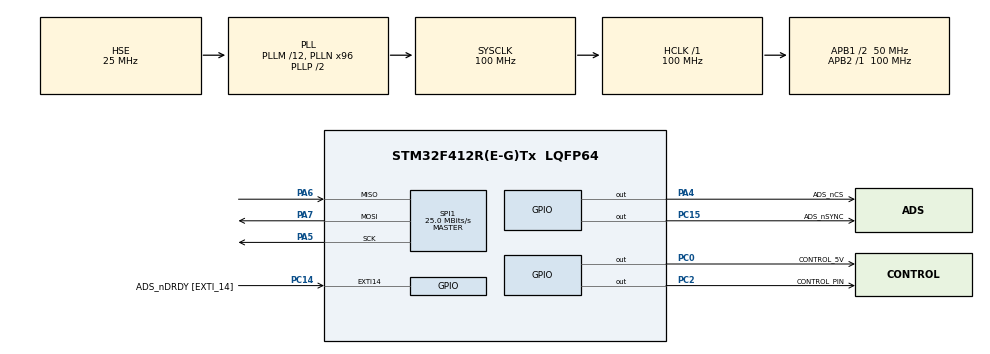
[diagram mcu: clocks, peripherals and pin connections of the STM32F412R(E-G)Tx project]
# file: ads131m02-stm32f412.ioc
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Mcu.Family=STM32F4
Mcu.Name=STM32F412R(E-G)Tx
Mcu.Package=LQFP64
NVIC.EXTI15_10_IRQn=true\:2\:0\:true\:false\:true\:true\:true\:true
NVIC.PriorityGroup=NVIC_PRIORITYGROUP_4
NVIC.TIM4_IRQn=true\:3\:0\:true\:false\:true\:true\:true\:true
PA4.GPIO_Label=ADS_nCS
PA4.GPIO_Speed=GPIO_SPEED_FREQ_VERY_HIGH
PA4.PinState=GPIO_PIN_SET
PA4.Signal=GPIO_Output
PA5.Mode=Full_Duplex_Master
PA5.Signal=SPI1_SCK
PA6.Mode=Full_Duplex_Master
PA6.Signal=SPI1_MISO
PA7.Mode=Full_Duplex_Master
PA7.Signal=SPI1_MOSI
PC0.GPIO_Label=CONTROL_5V
PC0.PinState=GPIO_PIN_SET
PC0.Signal=GPIO_Output
PC14-OSC32_IN.GPIO_Label=ADS_nDRDY [EXTI_14]
PC14-OSC32_IN.GPIO_ModeDefaultEXTI=GPIO_MODE_IT_FALLING
PC14-OSC32_IN.Signal=GPXTI14
PC15-OSC32_OUT.GPIO_Label=ADS_nSYNC
PC15-OSC32_OUT.PinState=GPIO_PIN_SET
PC15-OSC32_OUT.Signal=GPIO_Output
PC2.GPIO_Label=CONTROL_PIN
PC2.PinState=GPIO_PIN_SET
PC2.Signal=GPIO_Output
PH0\ -\ OSC_IN.Mode=HSE-External-Oscillator
PH0\ -\ OSC_IN.Signal=RCC_OSC_IN
PH1\ -\ OSC_OUT.Mode=HSE-External-Oscillator
PH1\ -\ OSC_OUT.Signal=RCC_OSC_OUT
ProjectManager.HeapSize=0x200
ProjectManager.StackSize=0x400
ProjectManager.TargetToolchain=STM32CubeIDE
RCC.AHBFreq_Value=100000000
RCC.APB1CLKDivider=RCC_HCLK_DIV2
RCC.APB1Freq_Value=50000000
RCC.APB1TimFreq_Value=100000000
RCC.APB2Freq_Value=100000000
RCC.APB2TimFreq_Value=100000000
RCC.CortexFreq_Value=100000000
RCC.HCLKFreq_Value=100000000
RCC.PLLM=12
RCC.PLLN=96
RCC.PLLSourceVirtual=RCC_PLLSOURCE_HSE
RCC.SYSCLKFreq_VALUE=100000000
RCC.SYSCLKSource=RCC_SYSCLKSOURCE_PLLCLK
RCC.USBFreq_Value=100000000
RCC.VCOOutputFreq_Value=200000000
SPI1.BaudRatePrescaler=SPI_BAUDRATEPRESCALER_4
SPI1.CLKPhase=SPI_PHASE_2EDGE
SPI1.CalculateBaudRate=25.0 MBits/s
SPI1.Direction=SPI_DIRECTION_2LINES
SPI1.Mode=SPI_MODE_MASTER
SPI1.VirtualType=VM_MASTER
TIM4.Period=9999
TIM4.Prescaler=9999
VP_TIM4_VS_ClockSourceINT.Mode=Internal
board=custom

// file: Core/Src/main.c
/* USER CODE BEGIN Header */
/**
 ******************************************************************************
 * @file           : main.c
 * @brief          : Main program body
 ******************************************************************************
 * @attention
 *
 * Copyright (c) 2024 STMicroelectronics.
 * All rights reserved.
 *
 * This software is licensed under terms that can be found in the LICENSE file
 * in the root directory of this software component.
 * If no LICENSE file comes with this software, it is provided AS-IS.
 *
 ******************************************************************************
 */
/* USER CODE END Header */
#include "main.h"
#include "spi.h"
#include "tim.h"
#include "gpio.h"

/* USER CODE BEGIN Includes */
#include <stdint.h>
#include <stdbool.h>
#include <stddef.h>

#include "ADS131M0x.h"
/* USER CODE END Includes */

/* USER CODE BEGIN PV */
ads131_t Ads131;
bool Ads131Ready = true;
uint32_t Ads131Counter, Ads131Sps;
uint32_t Channel0Raw;
ads131Float_t Channel0Mv;
/* USER CODE END PV */

void SystemClock_Config(void);

/* USER CODE BEGIN 0 */

/* MCU Interrupts */
// We are using the timer to measure sample rate
void HAL_TIM_PeriodElapsedCallback(TIM_HandleTypeDef *htim){
	if (htim->Instance == TIM4){
		Ads131Sps = Ads131Counter;
		Ads131Counter = 0;
	}
}

void HAL_GPIO_EXTI_Callback(uint16_t GPIO_Pin){
	if (GPIO_Pin == ADS_nDRDY_Pin){
		// ADS131 Is New Data!
		Ads131Ready = true;
	}
}

/* ADS131 MCU Specific Functions */
void __ads131_syncpin(uint8_t Sig){
	HAL_GPIO_WritePin(ADS_nSYNC_GPIO_Port, ADS_nSYNC_Pin, Sig);
}

void __ads131_cspin(uint8_t Sig){
	HAL_GPIO_WritePin(ADS_nCS_GPIO_Port, ADS_nCS_Pin, Sig);
}

uint8_t __ads131_spitransfer(uint8_t *Tx, uint8_t *Rx, uint32_t len){
	HAL_StatusTypeDef Err = HAL_ERROR;

	if (Tx != NULL && Rx != NULL){
		Err = HAL_SPI_TransmitReceive(&hspi1, Tx, Rx, len, 100);
	}
	else if (Tx != NULL){
		Err = HAL_SPI_Transmit(&hspi1, Tx, len, 100);
	}
	else if (Rx != NULL){
		Err = HAL_SPI_Receive(&hspi1, Rx, len, 100);
	}

	if (Err == HAL_OK){
		return ADS131_OK;
	}
	return ADS131_FAILED;
}

/* USER CODE END 0 */

int main(void)
{

  /* MCU Configuration--------------------------------------------------------*/

  /* Reset of all peripherals, Initializes the Flash interface and the Systick. */
  HAL_Init();

  /* Configure the system clock */
  SystemClock_Config();

  /* Initialize all configured peripherals */
  MX_GPIO_Init();
  MX_SPI1_Init();
  MX_TIM4_Init();
  /* USER CODE BEGIN 2 */

	ADS131_SET_FXN_CSPIN(Ads131, __ads131_cspin);
	ADS131_SET_FXN_SYNCPIN(Ads131, __ads131_syncpin);
	ADS131_SET_FXN_SPITRANSFER(Ads131, __ads131_spitransfer);
	ADS131_SET_FXN_DELAYMS(Ads131, HAL_Delay);
	// The Set SPITRANSFERIRQ and LOCK/UNLOCK are optional

	ads131_init(&Ads131);

	// Set OSR value to give us a Sample Rate of 1 kSPS (Table8-2, pag20)
	ads131_set_osr(&Ads131, ADS131_OSR_4096);
	// Set Channel 0 Gain value to measure values from ±9.375 mV (Table8-1, pag18)
	ads131_set_gain(&Ads131, ADS131_CHANNEL0, ADS131_GAIN_16);

	//Start timer to measure Sample Rate
	HAL_TIM_Base_Start_IT(&htim4);

  /* USER CODE END 2 */

  /* Infinite loop */
  /* USER CODE BEGIN WHILE */
	while (1)
	{
		if (Ads131Ready == true){
			Ads131Ready = false;
			Ads131Counter++;
			ads131_read_one_channel(&Ads131, ADS131_CHANNEL0, &Channel0Raw, &Channel0Mv);
		}
    /* USER CODE END WHILE */

	}
}

void SystemClock_Config(void)
{
  RCC_OscInitTypeDef RCC_OscInitStruct = {0};
  RCC_ClkInitTypeDef RCC_ClkInitStruct = {0};

  /** Configure the main internal regulator output voltage
  */
  __HAL_RCC_PWR_CLK_ENABLE();
  __HAL_PWR_VOLTAGESCALING_CONFIG(PWR_REGULATOR_VOLTAGE_SCALE1);

  /** Initializes the RCC Oscillators according to the specified parameters
  * in the RCC_OscInitTypeDef structure.
  */
  RCC_OscInitStruct.OscillatorType = RCC_OSCILLATORTYPE_HSE;
  RCC_OscInitStruct.HSEState = RCC_HSE_ON;
  RCC_OscInitStruct.PLL.PLLState = RCC_PLL_ON;
  RCC_OscInitStruct.PLL.PLLSource = RCC_PLLSOURCE_HSE;
  RCC_OscInitStruct.PLL.PLLM = 12;
  RCC_OscInitStruct.PLL.PLLN = 96;
  RCC_OscInitStruct.PLL.PLLP = RCC_PLLP_DIV2;
  RCC_OscInitStruct.PLL.PLLQ = 2;
  RCC_OscInitStruct.PLL.PLLR = 2;
  if (HAL_RCC_OscConfig(&RCC_OscInitStruct) != HAL_OK)
  {
    Error_Handler();
  }

  /** Initializes the CPU, AHB and APB buses clocks
  */
  RCC_ClkInitStruct.ClockType = RCC_CLOCKTYPE_HCLK|RCC_CLOCKTYPE_SYSCLK
                              |RCC_CLOCKTYPE_PCLK1|RCC_CLOCKTYPE_PCLK2;
  RCC_ClkInitStruct.SYSCLKSource = RCC_SYSCLKSOURCE_PLLCLK;
  RCC_ClkInitStruct.AHBCLKDivider = RCC_SYSCLK_DIV1;
  RCC_ClkInitStruct.APB1CLKDivider = RCC_HCLK_DIV2;
  RCC_ClkInitStruct.APB2CLKDivider = RCC_HCLK_DIV1;

  if (HAL_RCC_ClockConfig(&RCC_ClkInitStruct, FLASH_LATENCY_3) != HAL_OK)
  {
    Error_Handler();
  }
}

void Error_Handler(void)
{
	__disable_irq();
	while (1)
	{
	}
}
